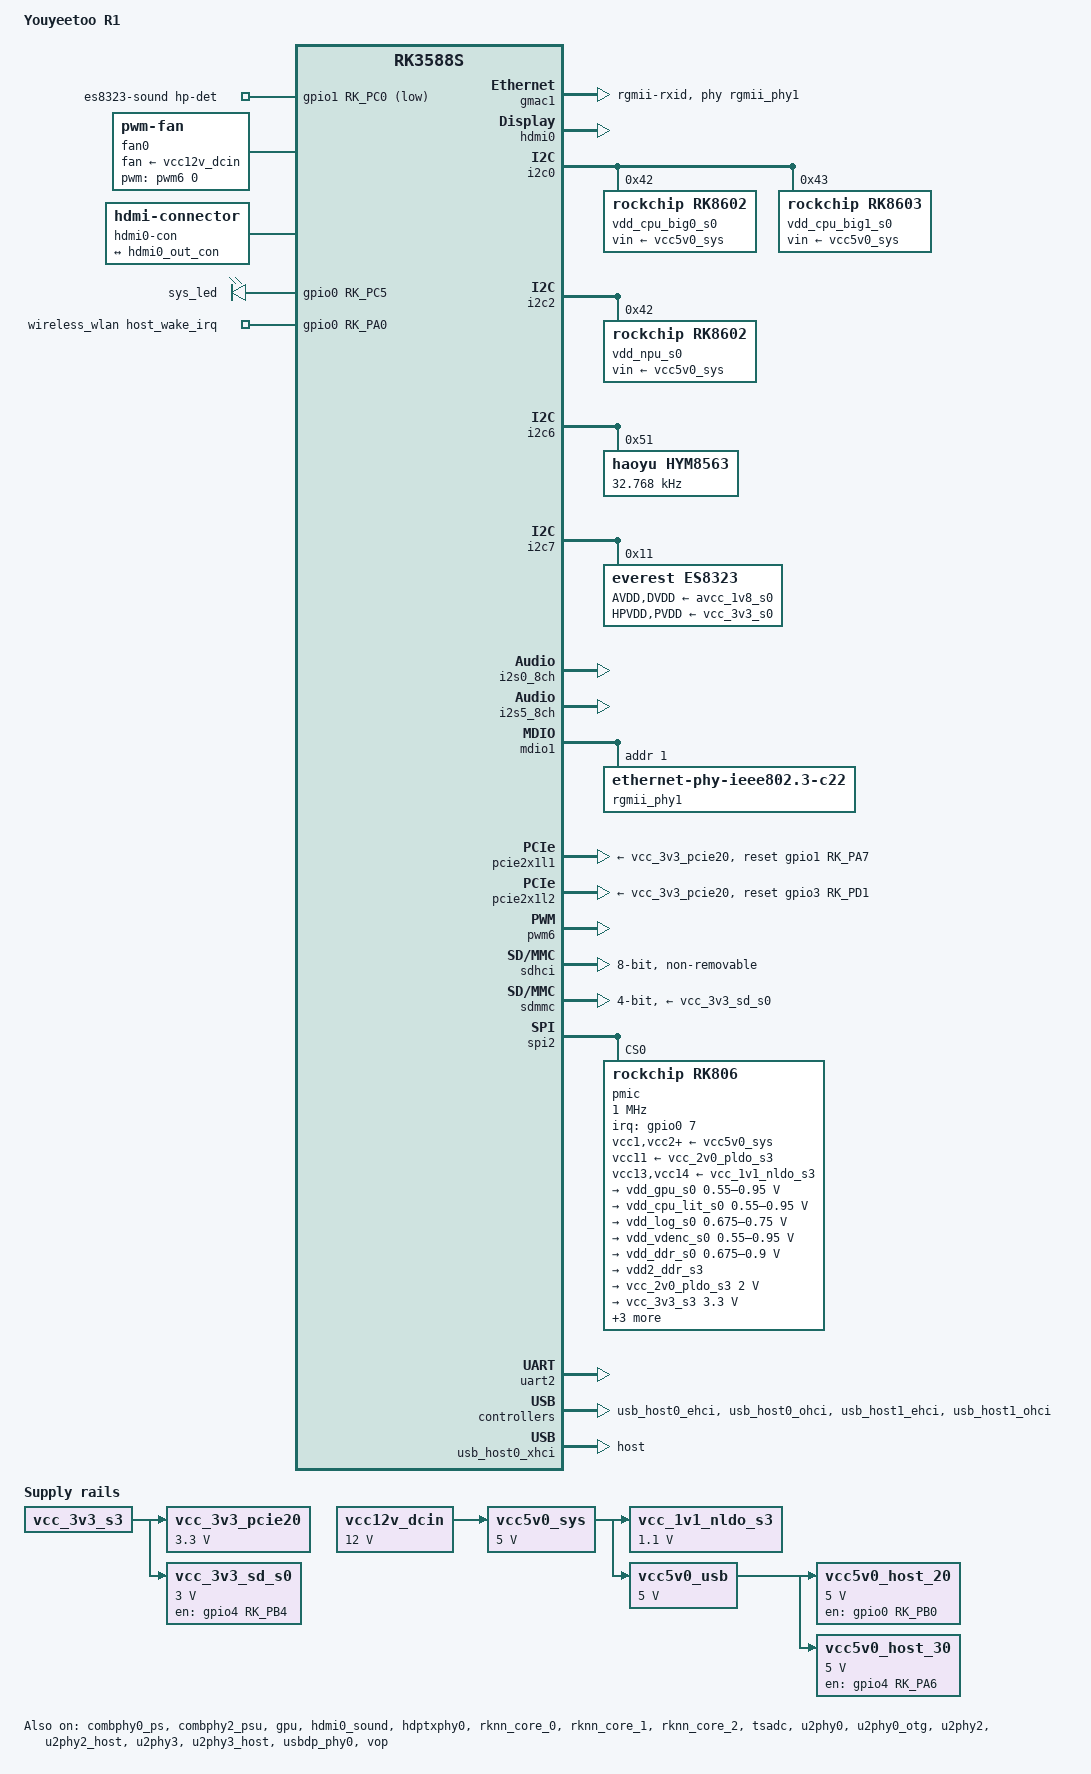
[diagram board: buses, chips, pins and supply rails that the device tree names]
// SPDX-License-Identifier: (GPL-2.0+ OR MIT)

/dts-v1/;

#include <dt-bindings/pinctrl/rockchip.h>
#include <dt-bindings/gpio/gpio.h>
#include <dt-bindings/input/input.h>
#include <dt-bindings/soc/rockchip,vop2.h>
#include "rk3588s.dtsi"

/ {
	model = "Youyeetoo R1";
	compatible = "youyeetoo,r1", "rockchip,rk3588s";

	aliases {
		ethernet0 = &gmac1;
		mmc0 = &sdhci;
		mmc1 = &sdmmc;
		mmc2 = &sdio;
		serial2 = &uart2;
	};

	chosen {
		stdout-path = "serial2:1500000n8";
	};

	es8323-sound {
		compatible = "simple-audio-card";
		pinctrl-names = "default";
		pinctrl-0 = <&hp_det>;
		simple-audio-card,name = "rockchip-es8323";
		simple-audio-card,format = "i2s";
		simple-audio-card,hp-det-gpios = <&gpio1 RK_PC0 GPIO_ACTIVE_LOW>;
		simple-audio-card,mclk-fs = <256>;
		simple-audio-card,pin-switches = "Headphones";
		simple-audio-card,routing =
			"Headphones", "LOUT1",
			"Headphones", "ROUT1",
			"LINPUT1", "Microphone Jack",
			"RINPUT1", "Microphone Jack",
			"LINPUT2", "Onboard Microphone",
			"RINPUT2", "Onboard Microphone";
		simple-audio-card,widgets =
			"Microphone", "Microphone Jack",
			"Microphone", "Onboard Microphone",
			"Headphone", "Headphones";

		simple-audio-card,cpu {
			sound-dai = <&i2s0_8ch>;
		};

		simple-audio-card,codec {
			sound-dai = <&es8323>;
			system-clock-frequency = <12288000>;
		};
	};

	fan0: pwm-fan {
		compatible = "pwm-fan";
		#cooling-cells = <2>;
		cooling-levels = <100 160 190 200 215 235 255>;
		pwms = <&pwm6 0 40000 0>;
		fan-supply = <&vcc12v_dcin>;
	};

	hdmi0-con {
		compatible = "hdmi-connector";
		type = "a";

		port {
			hdmi0_con_in: endpoint {
				remote-endpoint = <&hdmi0_out_con>;
			};
		};
	};

	leds {
		compatible = "gpio-leds";

		sys_led: led-0 {
			label = "sys_led";
			gpios = <&gpio0 RK_PC5 GPIO_ACTIVE_HIGH>;
			linux,default-trigger = "heartbeat";
			pinctrl-names = "default";
			pinctrl-0 = <&sys_led_pin>;
		};
	};

	vcc12v_dcin: vcc12v-dcin-regulator {
		compatible = "regulator-fixed";
		regulator-name = "vcc12v_dcin";
		regulator-always-on;
		regulator-boot-on;
		regulator-min-microvolt = <12000000>;
		regulator-max-microvolt = <12000000>;
	};

	vcc5v0_sys: vcc5v0-sys-regulator {
		compatible = "regulator-fixed";
		regulator-name = "vcc5v0_sys";
		regulator-always-on;
		regulator-boot-on;
		regulator-min-microvolt = <5000000>;
		regulator-max-microvolt = <5000000>;
		vin-supply = <&vcc12v_dcin>;
	};

	vcc_1v1_nldo_s3: vcc-1v1-nldo-s3-regulator {
		compatible = "regulator-fixed";
		regulator-name = "vcc_1v1_nldo_s3";
		regulator-always-on;
		regulator-boot-on;
		regulator-min-microvolt = <1100000>;
		regulator-max-microvolt = <1100000>;
		vin-supply = <&vcc5v0_sys>;
	};

	vcc_3v3_pcie20: vcc3v3-pcie20-regulator {
		compatible = "regulator-fixed";
		regulator-name = "vcc_3v3_pcie20";
		regulator-always-on;
		regulator-boot-on;
		regulator-min-microvolt = <3300000>;
		regulator-max-microvolt = <3300000>;
		vin-supply = <&vcc_3v3_s3>;
	};

	vcc_3v3_sd_s0: vcc-3v3-sd-s0-regulator {
		compatible = "regulator-fixed";
		regulator-name = "vcc_3v3_sd_s0";
		enable-active-high;
		regulator-boot-on;
		gpio = <&gpio4 RK_PB4 GPIO_ACTIVE_HIGH>;
		pinctrl-names = "default";
		pinctrl-0 = <&sd_s0_pwr>;
		regulator-max-microvolt = <3000000>;
		regulator-min-microvolt = <3000000>;
		vin-supply = <&vcc_3v3_s3>;
	};

	vcc5v0_host_20: vcc5v0-host-20 {
		compatible = "regulator-fixed";
		enable-active-high;
		gpio = <&gpio0 RK_PB0 GPIO_ACTIVE_HIGH>;
		pinctrl-names = "default";
		pinctrl-0 = <&vcc5v0_host20_en>;
		regulator-name = "vcc5v0_host_20";
		regulator-min-microvolt = <5000000>;
		regulator-max-microvolt = <5000000>;
		vin-supply = <&vcc5v0_usb>;
	};

	vcc5v0_host_30: vcc5v0-host-30 {
		compatible = "regulator-fixed";
		enable-active-high;
		gpio = <&gpio4 RK_PA6 GPIO_ACTIVE_HIGH>;
		pinctrl-names = "default";
		pinctrl-0 = <&vcc5v0_host30_en>;
		regulator-name = "vcc5v0_host_30";
		regulator-min-microvolt = <5000000>;
		regulator-max-microvolt = <5000000>;
		vin-supply = <&vcc5v0_usb>;
	};

	vcc5v0_usb: vcc5v0-usb-regulator {
		compatible = "regulator-fixed";
		regulator-name = "vcc5v0_usb";
		regulator-always-on;
		regulator-boot-on;
		regulator-min-microvolt = <5000000>;
		regulator-max-microvolt = <5000000>;
		vin-supply = <&vcc5v0_sys>;
	};

	wireless_bluetooth: wireless-bluetooth {
		compatible = "bluetooth-platdata";
		clocks = <&hym8563>;
		clock-names = "ext_clock";
		status = "okay";
	};

	wireless_wlan: wireless-wlan {
		compatible = "wlan-platdata";
		wifi_chip_type = "rtl8852be";
		pinctrl-names = "default";
		pinctrl-0 = <&wifi_host_wake_irq>;
		WIFI,host_wake_irq = <&gpio0 RK_PA0 GPIO_ACTIVE_HIGH>;
		status = "okay";
	};
};

&combphy0_ps {
	status = "okay";
};

&combphy2_psu {
	status = "okay";
};

&cpu_b0 {
	cpu-supply = <&vdd_cpu_big0_s0>;
	mem-supply = <&vdd_cpu_big0_mem_s0>;
};

&cpu_b1 {
	cpu-supply = <&vdd_cpu_big0_s0>;
	mem-supply = <&vdd_cpu_big0_mem_s0>;
};

&cpu_b2 {
	cpu-supply = <&vdd_cpu_big1_s0>;
	mem-supply = <&vdd_cpu_big1_mem_s0>;
};

&cpu_b3 {
	cpu-supply = <&vdd_cpu_big1_s0>;
	mem-supply = <&vdd_cpu_big1_mem_s0>;
};

&cpu_l0 {
	cpu-supply = <&vdd_cpu_lit_s0>;
	mem-supply = <&vdd_cpu_lit_mem_s0>;
};

&cpu_l1 {
	cpu-supply = <&vdd_cpu_lit_s0>;
	mem-supply = <&vdd_cpu_lit_mem_s0>;
};

&cpu_l2 {
	cpu-supply = <&vdd_cpu_lit_s0>;
	mem-supply = <&vdd_cpu_lit_mem_s0>;
};

&cpu_l3 {
	cpu-supply = <&vdd_cpu_lit_s0>;
	mem-supply = <&vdd_cpu_lit_mem_s0>;
};

&gmac1 {
	clock_in_out = "output";
	phy-handle = <&rgmii_phy1>;
	phy-mode = "rgmii-rxid";
	pinctrl-0 = <&gmac1_miim
		     &gmac1_tx_bus2
		     &gmac1_rx_bus2
		     &gmac1_rgmii_clk
		     &gmac1_rgmii_bus>;
	pinctrl-names = "default";
	rx_delay = <0x00>;
	tx_delay = <0x43>;
	status = "okay";
};

&gpu {
	mali-supply = <&vdd_gpu_s0>;
	status = "okay";
};

&hdmi0 {
	enable-gpios = <&gpio4 RK_PB6 GPIO_ACTIVE_HIGH>;
	status = "okay";
};

&hdmi0_in {
	hdmi0_in_vp0: endpoint {
		remote-endpoint = <&vp0_out_hdmi0>;
	};
};

&hdmi0_out {
	hdmi0_out_con: endpoint {
		remote-endpoint = <&hdmi0_con_in>;
	};
};

&hdmi0_sound {
	status = "okay";
};

&hdptxphy0 {
	status = "okay";
};

&i2c0 {
	pinctrl-names = "default";
	pinctrl-0 = <&i2c0m2_xfer>;
	status = "okay";

	vdd_cpu_big0_s0: vdd_cpu_big0_mem_s0: regulator@42 {
		compatible = "rockchip,rk8602";
		reg = <0x42>;
		fcs,suspend-voltage-selector = <1>;
		regulator-name = "vdd_cpu_big0_s0";
		regulator-always-on;
		regulator-boot-on;
		regulator-min-microvolt = <550000>;
		regulator-max-microvolt = <1050000>;
		regulator-ramp-delay = <2300>;
		vin-supply = <&vcc5v0_sys>;

		regulator-state-mem {
			regulator-off-in-suspend;
		};
	};

	vdd_cpu_big1_s0: vdd_cpu_big1_mem_s0: regulator@43 {
		compatible = "rockchip,rk8603", "rockchip,rk8602";
		reg = <0x43>;
		fcs,suspend-voltage-selector = <1>;
		regulator-name = "vdd_cpu_big1_s0";
		regulator-always-on;
		regulator-boot-on;
		regulator-min-microvolt = <550000>;
		regulator-max-microvolt = <1050000>;
		regulator-ramp-delay = <2300>;
		vin-supply = <&vcc5v0_sys>;

		regulator-state-mem {
			regulator-off-in-suspend;
		};
	};
};

&i2c2 {
	status = "okay";

	vdd_npu_s0: vdd_npu_mem_s0: rk8602@42 {
		compatible = "rockchip,rk8602";
		reg = <0x42>;
		fcs,suspend-voltage-selector = <1>;
		regulator-compatible = "rk860x-reg";
		regulator-name = "vdd_npu_s0";
		regulator-min-microvolt = <550000>;
		regulator-max-microvolt = <950000>;
		regulator-ramp-delay = <2300>;
		regulator-boot-on;
		regulator-always-on;
		vin-supply = <&vcc5v0_sys>;

		regulator-state-mem {
			regulator-off-in-suspend;
		};
	};
};

&i2c6 {
	status = "okay";
	pinctrl-names = "default";
	pinctrl-0 = <&i2c6m3_xfer>;

	hym8563: hym8563@51 {
		compatible = "haoyu,hym8563";
		reg = <0x51>;
		#clock-cells = <0>;
		clock-frequency = <32768>;
		clock-output-names = "hym8563";
		pinctrl-0 = <&hym8563_int>;
		status = "okay";
	};
};

&i2c7 {
	status = "okay";
	pinctrl-names = "default";
	pinctrl-0 = <&i2c7m0_xfer>;

	/*
	 * in the Youyeetoo BSP source this was confusingly called an
	 * "ES8388" - it actually seems to be an ES8323 and the drivers
	 * for that work best
	 */

	es8323: audio-codec@11 {
		compatible = "everest,es8323";
		reg = <0x11>;
		clocks = <&cru I2S0_8CH_MCLKOUT>;
		clock-names = "mclk";
		assigned-clocks = <&cru I2S0_8CH_MCLKOUT>;
		assigned-clock-rates = <12288000>;
		AVDD-supply = <&avcc_1v8_s0>;
		DVDD-supply = <&avcc_1v8_s0>;
		HPVDD-supply = <&vcc_3v3_s0>;
		PVDD-supply = <&vcc_3v3_s0>;
		#sound-dai-cells = <0>;
	};
};

&i2s0_8ch {
	pinctrl-names = "default";
	pinctrl-0 = <&i2s0_lrck
		     &i2s0_mclk
		     &i2s0_sclk
		     &i2s0_sdi0
		     &i2s0_sdo0>;
	status = "okay";
};

&i2s5_8ch {
	status = "okay";
};

&mdio1 {
	rgmii_phy1: phy@1 {
		compatible = "ethernet-phy-ieee802.3-c22";
		reg = <0x1>;
	};
};

&package_thermal {
	polling-delay = <1000>;

	trips {
		package_fan0: package-fan0 {
			temperature = <55000>;
			hysteresis = <2000>;
			type = "active";
		};
		package_fan1: package-fan1 {
			temperature = <65000>;
			hysteresis = <2000>;
			type = "active";
		};
	};

	cooling-maps {
		map1 {
			trip = <&package_fan0>;
			cooling-device = <&fan0 THERMAL_NO_LIMIT 1>;
		};
		map2 {
			trip = <&package_fan1>;
			cooling-device = <&fan0 2 THERMAL_NO_LIMIT>;
		};
	};
};

&pcie2x1l1 {
	reset-gpios = <&gpio1 RK_PA7 GPIO_ACTIVE_HIGH>;
	rockchip,init-delay-ms = <100>;
	vpcie3v3-supply = <&vcc_3v3_pcie20>;
	status = "okay";
};

&pcie2x1l2 {
	reset-gpios = <&gpio3 RK_PD1 GPIO_ACTIVE_HIGH>;
	vpcie3v3-supply = <&vcc_3v3_pcie20>;
	status = "okay";
};


&pinctrl {
	headphone {
		hp_det: hp-det {
			rockchip,pins = <1 RK_PC0 RK_FUNC_GPIO &pcfg_pull_none>;
		};
	};

	hym8563 {
		hym8563_int: hym8563-int {
			rockchip,pins = <0 RK_PB0 RK_FUNC_GPIO &pcfg_pull_up>;
		};
	};


	gpio-leds {
		sys_led_pin: sys-led-pin {
			rockchip,pins = <0 RK_PC5 RK_FUNC_GPIO &pcfg_pull_none>;

		};
	};
	sdmmc {
		sd_s0_pwr: sd-s0-pwr {
			rockchip,pins = <4 RK_PB4 RK_FUNC_GPIO &pcfg_pull_up>;
		};
	};

	usb {
		vcc5v0_host20_en: vcc5v0-host20-en {
			rockchip,pins = <0 RK_PC4 RK_FUNC_GPIO &pcfg_pull_up>;
		};
		vcc5v0_host30_en: vcc5v0-host30-en {
			rockchip,pins = <4 RK_PA6 RK_FUNC_GPIO &pcfg_pull_up>;
		};
	};

	wireless-wlan {
		wifi_host_wake_irq: wifi-host-wake-irq {
			rockchip,pins = <0 RK_PA0 RK_FUNC_GPIO &pcfg_pull_down>;
		};
	};
};

&pwm6 {
	status = "okay";
};

&rknn_core_0 {
	npu-supply = <&vdd_npu_s0>;
	sram-supply = <&vdd_npu_s0>;
	status = "okay";
};

&rknn_core_1 {
	npu-supply = <&vdd_npu_s0>;
	sram-supply = <&vdd_npu_s0>;
	status = "okay";
};

&rknn_core_2 {
	npu-supply = <&vdd_npu_s0>;
	sram-supply = <&vdd_npu_s0>;
	status = "okay";
};

&rknn_mmu_0 {
	status = "okay";
};

&rknn_mmu_1 {
	status = "okay";
};

&rknn_mmu_2 {
	status = "okay";
};

&sdhci {
	bus-width = <8>;
	no-sdio;
	no-sd;
	non-removable;
	max-frequency = <200000000>;
	mmc-hs400-1_8v;
	mmc-hs400-enhanced-strobe;
	status = "okay";
};

&sdmmc {
	bus-width = <4>;
	cap-mmc-highspeed;
	cap-sd-highspeed;
	disable-wp;
	max-frequency = <200000000>;
	no-sdio;
	no-mmc;
	pinctrl-names = "default";
	pinctrl-0 = <&sdmmc_bus4 &sdmmc_clk &sdmmc_cmd &sdmmc_det>;
	sd-uhs-sdr104;
	vmmc-supply = <&vcc_3v3_sd_s0>;
	vqmmc-supply = <&vccio_sd_s0>;
	status = "okay";
};

&spi2 {
	status = "okay";
	assigned-clocks = <&cru CLK_SPI2>;
	assigned-clock-rates = <200000000>;
	pinctrl-names = "default";
	pinctrl-0 = <&spi2m2_cs0 &spi2m2_pins>;
	num-cs = <1>;

	pmic@0 {
		compatible = "rockchip,rk806";
		spi-max-frequency = <1000000>;
		reg = <0x0>;

		interrupt-parent = <&gpio0>;
		interrupts = <7 IRQ_TYPE_LEVEL_LOW>;

		pinctrl-names = "default";
		pinctrl-0 = <&pmic_pins>, <&rk806_dvs1_null>,
			    <&rk806_dvs2_null>, <&rk806_dvs3_null>;

		system-power-controller;

		vcc1-supply = <&vcc5v0_sys>;
		vcc2-supply = <&vcc5v0_sys>;
		vcc3-supply = <&vcc5v0_sys>;
		vcc4-supply = <&vcc5v0_sys>;
		vcc5-supply = <&vcc5v0_sys>;
		vcc6-supply = <&vcc5v0_sys>;
		vcc7-supply = <&vcc5v0_sys>;
		vcc8-supply = <&vcc5v0_sys>;
		vcc9-supply = <&vcc5v0_sys>;
		vcc10-supply = <&vcc5v0_sys>;
		vcc11-supply = <&vcc_2v0_pldo_s3>;
		vcc12-supply = <&vcc5v0_sys>;
		vcc13-supply = <&vcc_1v1_nldo_s3>;
		vcc14-supply = <&vcc_1v1_nldo_s3>;
		vcca-supply = <&vcc5v0_sys>;

		gpio-controller;
		#gpio-cells = <2>;

		rk806_dvs1_null: dvs1-null-pins {
			pins = "gpio_pwrctrl1";
			function = "pin_fun0";
		};

		rk806_dvs2_null: dvs2-null-pins {
			pins = "gpio_pwrctrl2";
			function = "pin_fun0";
		};

		rk806_dvs3_null: dvs3-null-pins {
			pins = "gpio_pwrctrl3";
			function = "pin_fun0";
		};

		regulators {
			vdd_gpu_s0: vdd_gpu_mem_s0: dcdc-reg1 {
				regulator-boot-on;
				regulator-min-microvolt = <550000>;
				regulator-max-microvolt = <950000>;
				regulator-ramp-delay = <12500>;
				regulator-name = "vdd_gpu_s0";
				regulator-enable-ramp-delay = <400>;

				regulator-state-mem {
					regulator-off-in-suspend;
				};
			};

			vdd_cpu_lit_s0: vdd_cpu_lit_mem_s0: dcdc-reg2 {
				regulator-always-on;
				regulator-boot-on;
				regulator-min-microvolt = <550000>;
				regulator-max-microvolt = <950000>;
				regulator-ramp-delay = <12500>;
				regulator-name = "vdd_cpu_lit_s0";

				regulator-state-mem {
					regulator-off-in-suspend;
				};
			};

			vdd_log_s0: dcdc-reg3 {
				regulator-always-on;
				regulator-boot-on;
				regulator-min-microvolt = <675000>;
				regulator-max-microvolt = <750000>;
				regulator-ramp-delay = <12500>;
				regulator-name = "vdd_log_s0";

				regulator-state-mem {
					regulator-off-in-suspend;
					regulator-suspend-microvolt = <750000>;
				};
			};

			vdd_vdenc_s0: vdd_vdenc_mem_s0: dcdc-reg4 {
				regulator-always-on;
				regulator-boot-on;
				regulator-min-microvolt = <550000>;
				regulator-max-microvolt = <950000>;
				regulator-init-microvolt = <750000>;
				regulator-ramp-delay = <12500>;
				regulator-name = "vdd_vdenc_s0";

				regulator-state-mem {
					regulator-off-in-suspend;
				};
			};

			vdd_ddr_s0: dcdc-reg5 {
				regulator-always-on;
				regulator-boot-on;
				regulator-min-microvolt = <675000>;
				regulator-max-microvolt = <900000>;
				regulator-ramp-delay = <12500>;
				regulator-name = "vdd_ddr_s0";

				regulator-state-mem {
					regulator-off-in-suspend;
					regulator-suspend-microvolt = <850000>;
				};
			};

			vdd2_ddr_s3: dcdc-reg6 {
				regulator-always-on;
				regulator-boot-on;
				regulator-name = "vdd2_ddr_s3";

				regulator-state-mem {
					regulator-on-in-suspend;
				};
			};

			vcc_2v0_pldo_s3: dcdc-reg7 {
				regulator-always-on;
				regulator-boot-on;
				regulator-min-microvolt = <2000000>;
				regulator-max-microvolt = <2000000>;
				regulator-ramp-delay = <12500>;
				regulator-name = "vdd_2v0_pldo_s3";

				regulator-state-mem {
					regulator-on-in-suspend;
					regulator-suspend-microvolt = <2000000>;
				};
			};

			vcc_3v3_s3: dcdc-reg8 {
				regulator-always-on;
				regulator-boot-on;
				regulator-min-microvolt = <3300000>;
				regulator-max-microvolt = <3300000>;
				regulator-name = "vcc_3v3_s3";

				regulator-state-mem {
					regulator-on-in-suspend;
					regulator-suspend-microvolt = <3300000>;
				};
			};

			vddq_ddr_s0: dcdc-reg9 {
				regulator-always-on;
				regulator-boot-on;
				regulator-name = "vddq_ddr_s0";

				regulator-state-mem {
					regulator-off-in-suspend;
				};
			};

			vcc_1v8_s3: dcdc-reg10 {
				regulator-always-on;
				regulator-boot-on;
				regulator-min-microvolt = <1800000>;
				regulator-max-microvolt = <1800000>;
				regulator-name = "vcc_1v8_s3";

				regulator-state-mem {
					regulator-on-in-suspend;
					regulator-suspend-microvolt = <1800000>;
				};
			};

			avcc_1v8_s0: pldo-reg1 {
				regulator-always-on;
				regulator-boot-on;
				regulator-min-microvolt = <1800000>;
				regulator-max-microvolt = <1800000>;
				regulator-name = "avcc_1v8_s0";

				regulator-state-mem {
					regulator-off-in-suspend;
					regulator-suspend-microvolt = <1800000>;
				};
			};

			vcc_1v8_s0: pldo-reg2 {
				regulator-always-on;
				regulator-boot-on;
				regulator-min-microvolt = <1800000>;
				regulator-max-microvolt = <1800000>;
				regulator-name = "vcc_1v8_s0";

				regulator-state-mem {
					regulator-off-in-suspend;
					regulator-suspend-microvolt = <1800000>;
				};
			};

			avdd_1v2_s0: pldo-reg3 {
				regulator-always-on;
				regulator-boot-on;
				regulator-min-microvolt = <1200000>;
				regulator-max-microvolt = <1200000>;
				regulator-name = "avdd_1v2_s0";

				regulator-state-mem {
					regulator-off-in-suspend;
				};
			};

			vcc_3v3_s0: pldo-reg4 {
				regulator-always-on;
				regulator-boot-on;
				regulator-min-microvolt = <3300000>;
				regulator-max-microvolt = <3300000>;
				regulator-ramp-delay = <12500>;
				regulator-name = "vcc_3v3_s0";

				regulator-state-mem {
					regulator-off-in-suspend;
				};
			};

			vccio_sd_s0: pldo-reg5 {
				regulator-always-on;
				regulator-boot-on;
				regulator-min-microvolt = <1800000>;
				regulator-max-microvolt = <3300000>;
				regulator-ramp-delay = <12500>;
				regulator-name = "vccio_sd_s0";

				regulator-state-mem {
					regulator-off-in-suspend;
				};
			};

			pldo6_s3: pldo-reg6 {
				regulator-always-on;
				regulator-boot-on;
				regulator-min-microvolt = <1800000>;
				regulator-max-microvolt = <1800000>;
				regulator-name = "pldo6_s3";

				regulator-state-mem {
					regulator-on-in-suspend;
					regulator-suspend-microvolt = <1800000>;
				};
			};

			vdd_0v75_s3: nldo-reg1 {
				regulator-always-on;
				regulator-boot-on;
				regulator-min-microvolt = <750000>;
				regulator-max-microvolt = <750000>;
				regulator-name = "vdd_0v75_s3";

				regulator-state-mem {
					regulator-on-in-suspend;
					regulator-suspend-microvolt = <750000>;
				};
			};

			vdd_ddr_pll_s0: nldo-reg2 {
				regulator-always-on;
				regulator-boot-on;
				regulator-min-microvolt = <850000>;
				regulator-max-microvolt = <850000>;
				regulator-name = "vdd_ddr_pll_s0";

				regulator-state-mem {
					regulator-off-in-suspend;
					regulator-suspend-microvolt = <850000>;
				};
			};

			avdd_0v75_s0: nldo-reg3 {
				regulator-always-on;
				regulator-boot-on;
				regulator-min-microvolt = <750000>;
				regulator-max-microvolt = <750000>;
				regulator-name = "avdd_0v75_s0";

				regulator-state-mem {
					regulator-off-in-suspend;
				};
			};

			vdd_0v85_s0: nldo-reg4 {
				regulator-always-on;
				regulator-boot-on;
				regulator-min-microvolt = <850000>;
				regulator-max-microvolt = <850000>;
				regulator-name = "vdd_0v85_s0";

				regulator-state-mem {
					regulator-off-in-suspend;
				};
			};

			vdd_0v75_s0: nldo-reg5 {
				regulator-always-on;
				regulator-boot-on;
				regulator-min-microvolt = <750000>;
				regulator-max-microvolt = <750000>;
				regulator-name = "vdd_0v75_s0";

				regulator-state-mem {
					regulator-off-in-suspend;
				};
			};
		};
	};
};

&tsadc {
	status = "okay";
};

&u2phy0 {
	status = "okay";
};

&u2phy0_otg {
	phy-supply = <&vcc5v0_host_30>;
	status = "okay";
};

&u2phy2 {
	status = "okay";
};

&u2phy2_host {
	phy-supply = <&vcc5v0_host_20>;
	status = "okay";
};

&u2phy3 {
	status = "okay";
};

&u2phy3_host {
	phy-supply = <&vcc5v0_host_20>;
	status = "okay";
};

&uart2 {
	pinctrl-0 = <&uart2m0_xfer>;
	status = "okay";
};

&usb_host0_ehci {
	status = "okay";
};

&usb_host0_ohci {
	status = "okay";
};

&usb_host0_xhci {
	status = "okay";
	dr_mode = "host";
	extcon = <&u2phy0>;
};

&usb_host1_ehci {
	status = "okay";
};

&usb_host1_ohci {
	status = "okay";
};

&usbdp_phy0 {
	status = "okay";
};

&vop {
	status = "okay";
};

&vop_mmu {
	status = "okay";
};

&vp0 {
	vp0_out_hdmi0: endpoint@ROCKCHIP_VOP2_EP_HDMI0 {
		reg = <ROCKCHIP_VOP2_EP_HDMI0>;
		remote-endpoint = <&hdmi0_in_vp0>;
	};
};
